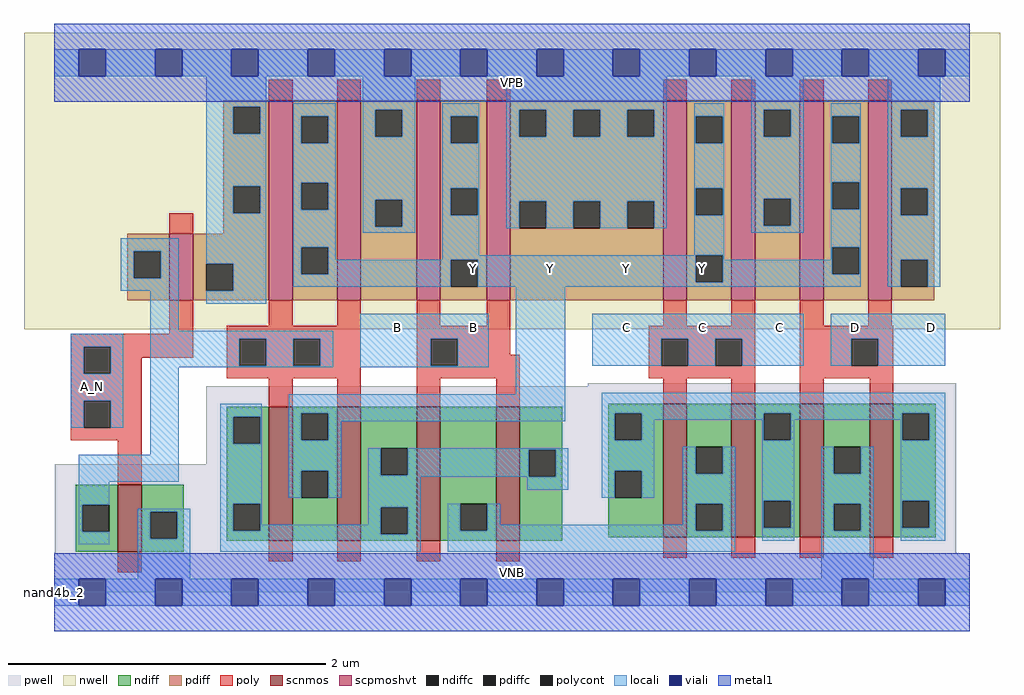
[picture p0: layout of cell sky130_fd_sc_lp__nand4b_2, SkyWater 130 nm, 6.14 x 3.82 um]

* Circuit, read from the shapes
.subckt sky130_fd_sc_lp__nand4b_2 A_N B C D VGND VNB VPB VPWR Y
XM1 VGND A_N n1 VNB sky130_fd_pr__nfet_01v8 w=0.42 l=0.15
XM2 Y n1 n2 VNB sky130_fd_pr__nfet_01v8 w=0.84 l=0.15 m=2
XM3 n3 B n2 VNB sky130_fd_pr__nfet_01v8 w=0.84 l=0.15 m=2
XM4 n3 C n4 VNB sky130_fd_pr__nfet_01v8 w=0.84 l=0.15 m=2
XM5 VGND D n4 VNB sky130_fd_pr__nfet_01v8 w=0.84 l=0.15 m=2
XM6 VPWR A_N n1 VPB sky130_fd_pr__pfet_01v8_hvt w=0.42 l=0.15
XM7 Y n1 VPWR VPB sky130_fd_pr__pfet_01v8_hvt w=1.26 l=0.15 m=2
XM8 Y B VPWR VPB sky130_fd_pr__pfet_01v8_hvt w=1.26 l=0.15 m=2
XM9 Y C VPWR VPB sky130_fd_pr__pfet_01v8_hvt w=1.26 l=0.15 m=2
XM10 Y D VPWR VPB sky130_fd_pr__pfet_01v8_hvt w=1.26 l=0.15 m=2
.ends

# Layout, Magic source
magic
tech sky130A
magscale 1 2
<< nwell >>
rect -38 331 1190 704
<< pwell >>
rect 671 259 1135 263
rect 191 161 1135 259
rect 1 49 1135 161
rect 0 0 1152 49
<< scnmos >>
rect 80 51 110 135
rect 270 65 300 233
rect 356 65 386 233
rect 456 65 486 233
rect 556 65 586 233
rect 766 69 796 237
rect 852 69 882 237
rect 938 69 968 237
rect 1026 69 1056 237
<< scpmoshvt >>
rect 145 367 175 451
rect 270 367 300 619
rect 356 367 386 619
rect 456 367 486 619
rect 544 367 574 619
rect 766 367 796 619
rect 852 367 882 619
rect 938 367 968 619
rect 1024 367 1054 619
<< ndiff >>
rect 217 221 270 233
rect 217 187 225 221
rect 259 187 270 221
rect 27 110 80 135
rect 27 76 35 110
rect 69 76 80 110
rect 27 51 80 76
rect 110 101 163 135
rect 110 67 121 101
rect 155 67 163 101
rect 110 51 163 67
rect 217 111 270 187
rect 217 77 225 111
rect 259 77 270 111
rect 217 65 270 77
rect 300 225 356 233
rect 300 191 311 225
rect 345 191 356 225
rect 300 153 356 191
rect 300 119 311 153
rect 345 119 356 153
rect 300 65 356 119
rect 386 181 456 233
rect 386 147 411 181
rect 445 147 456 181
rect 386 107 456 147
rect 386 73 411 107
rect 445 73 456 107
rect 386 65 456 73
rect 486 111 556 233
rect 486 77 511 111
rect 545 77 556 111
rect 486 65 556 77
rect 586 179 639 233
rect 586 145 597 179
rect 631 145 639 179
rect 586 65 639 145
rect 697 225 766 237
rect 697 191 705 225
rect 739 191 766 225
rect 697 153 766 191
rect 697 119 705 153
rect 739 119 766 153
rect 697 69 766 119
rect 796 183 852 237
rect 796 149 807 183
rect 841 149 852 183
rect 796 111 852 149
rect 796 77 807 111
rect 841 77 852 111
rect 796 69 852 77
rect 882 225 938 237
rect 882 191 893 225
rect 927 191 938 225
rect 882 115 938 191
rect 882 81 893 115
rect 927 81 938 115
rect 882 69 938 81
rect 968 183 1026 237
rect 968 149 981 183
rect 1015 149 1026 183
rect 968 111 1026 149
rect 968 77 981 111
rect 1015 77 1026 111
rect 968 69 1026 77
rect 1056 225 1109 237
rect 1056 191 1067 225
rect 1101 191 1109 225
rect 1056 115 1109 191
rect 1056 81 1067 115
rect 1101 81 1109 115
rect 1056 69 1109 81
<< pdiff >>
rect 213 611 270 619
rect 213 577 225 611
rect 259 577 270 611
rect 213 511 270 577
rect 213 477 225 511
rect 259 477 270 511
rect 213 451 270 477
rect 92 429 145 451
rect 92 395 100 429
rect 134 395 145 429
rect 92 367 145 395
rect 175 413 270 451
rect 175 379 191 413
rect 225 379 270 413
rect 175 367 270 379
rect 300 599 356 619
rect 300 565 311 599
rect 345 565 356 599
rect 300 515 356 565
rect 300 481 311 515
rect 345 481 356 515
rect 300 434 356 481
rect 300 400 311 434
rect 345 400 356 434
rect 300 367 356 400
rect 386 607 456 619
rect 386 573 404 607
rect 438 573 456 607
rect 386 494 456 573
rect 386 460 404 494
rect 438 460 456 494
rect 386 367 456 460
rect 486 599 544 619
rect 486 565 499 599
rect 533 565 544 599
rect 486 508 544 565
rect 486 474 499 508
rect 533 474 544 508
rect 486 418 544 474
rect 486 384 499 418
rect 533 384 544 418
rect 486 367 544 384
rect 574 607 766 619
rect 574 573 585 607
rect 619 573 653 607
rect 687 573 721 607
rect 755 573 766 607
rect 574 492 766 573
rect 574 458 585 492
rect 619 458 653 492
rect 687 458 721 492
rect 755 458 766 492
rect 574 367 766 458
rect 796 599 852 619
rect 796 565 807 599
rect 841 565 852 599
rect 796 508 852 565
rect 796 474 807 508
rect 841 474 852 508
rect 796 424 852 474
rect 796 390 807 424
rect 841 390 852 424
rect 796 367 852 390
rect 882 607 938 619
rect 882 573 893 607
rect 927 573 938 607
rect 882 495 938 573
rect 882 461 893 495
rect 927 461 938 495
rect 882 367 938 461
rect 968 599 1024 619
rect 968 565 979 599
rect 1013 565 1024 599
rect 968 516 1024 565
rect 968 482 979 516
rect 1013 482 1024 516
rect 968 434 1024 482
rect 968 400 979 434
rect 1013 400 1024 434
rect 968 367 1024 400
rect 1054 607 1107 619
rect 1054 573 1065 607
rect 1099 573 1107 607
rect 1054 508 1107 573
rect 1054 474 1065 508
rect 1099 474 1107 508
rect 1054 418 1107 474
rect 1054 384 1065 418
rect 1099 384 1107 418
rect 1054 367 1107 384
<< ndiffc >>
rect 225 187 259 221
rect 35 76 69 110
rect 121 67 155 101
rect 225 77 259 111
rect 311 191 345 225
rect 311 119 345 153
rect 411 147 445 181
rect 411 73 445 107
rect 511 77 545 111
rect 597 145 631 179
rect 705 191 739 225
rect 705 119 739 153
rect 807 149 841 183
rect 807 77 841 111
rect 893 191 927 225
rect 893 81 927 115
rect 981 149 1015 183
rect 981 77 1015 111
rect 1067 191 1101 225
rect 1067 81 1101 115
<< pdiffc >>
rect 225 577 259 611
rect 225 477 259 511
rect 100 395 134 429
rect 191 379 225 413
rect 311 565 345 599
rect 311 481 345 515
rect 311 400 345 434
rect 404 573 438 607
rect 404 460 438 494
rect 499 565 533 599
rect 499 474 533 508
rect 499 384 533 418
rect 585 573 619 607
rect 653 573 687 607
rect 721 573 755 607
rect 585 458 619 492
rect 653 458 687 492
rect 721 458 755 492
rect 807 565 841 599
rect 807 474 841 508
rect 807 390 841 424
rect 893 573 927 607
rect 893 461 927 495
rect 979 565 1013 599
rect 979 482 1013 516
rect 979 400 1013 434
rect 1065 573 1099 607
rect 1065 474 1099 508
rect 1065 384 1099 418
<< poly >>
rect 270 619 300 645
rect 356 619 386 645
rect 456 619 486 645
rect 544 619 574 645
rect 766 619 796 645
rect 852 619 882 645
rect 938 619 968 645
rect 1024 619 1054 645
rect 145 451 175 477
rect 145 325 175 367
rect 270 335 300 367
rect 356 335 386 367
rect 21 309 175 325
rect 21 275 37 309
rect 71 295 175 309
rect 217 319 386 335
rect 71 275 110 295
rect 21 241 110 275
rect 217 285 233 319
rect 267 285 301 319
rect 335 285 386 319
rect 217 269 386 285
rect 21 207 37 241
rect 71 207 110 241
rect 270 233 300 269
rect 356 233 386 269
rect 456 335 486 367
rect 544 335 574 367
rect 766 335 796 367
rect 852 335 882 367
rect 456 319 574 335
rect 456 285 474 319
rect 508 299 574 319
rect 748 319 882 335
rect 508 285 586 299
rect 456 269 586 285
rect 748 285 764 319
rect 798 285 832 319
rect 866 285 882 319
rect 748 269 882 285
rect 456 233 486 269
rect 556 233 586 269
rect 766 237 796 269
rect 852 237 882 269
rect 938 335 968 367
rect 1024 335 1054 367
rect 938 319 1056 335
rect 938 285 1003 319
rect 1037 285 1056 319
rect 938 269 1056 285
rect 938 237 968 269
rect 1026 237 1056 269
rect 21 191 110 207
rect 80 135 110 191
rect 80 25 110 51
rect 270 39 300 65
rect 356 39 386 65
rect 456 39 486 65
rect 556 39 586 65
rect 766 43 796 69
rect 852 43 882 69
rect 938 43 968 69
rect 1026 43 1056 69
<< polycont >>
rect 37 275 71 309
rect 233 285 267 319
rect 301 285 335 319
rect 37 207 71 241
rect 474 285 508 319
rect 764 285 798 319
rect 832 285 866 319
rect 1003 285 1037 319
<< locali >>
rect 0 649 31 683
rect 65 649 127 683
rect 161 649 223 683
rect 257 649 319 683
rect 353 649 415 683
rect 449 649 511 683
rect 545 649 607 683
rect 641 649 703 683
rect 737 649 799 683
rect 833 649 895 683
rect 929 649 991 683
rect 1025 649 1087 683
rect 1121 649 1152 683
rect 191 611 267 649
rect 191 577 225 611
rect 259 577 267 611
rect 191 511 267 577
rect 191 477 225 511
rect 259 477 267 511
rect 84 429 157 445
rect 84 395 100 429
rect 134 395 157 429
rect 84 379 157 395
rect 121 329 157 379
rect 191 413 267 477
rect 225 379 267 413
rect 301 599 354 615
rect 301 565 311 599
rect 345 565 354 599
rect 301 515 354 565
rect 301 481 311 515
rect 345 481 354 515
rect 301 434 354 481
rect 388 607 454 649
rect 388 573 404 607
rect 438 573 454 607
rect 388 494 454 573
rect 388 460 404 494
rect 438 460 454 494
rect 388 452 454 460
rect 488 599 535 615
rect 488 565 499 599
rect 533 565 535 599
rect 488 508 535 565
rect 488 474 499 508
rect 533 474 535 508
rect 301 400 311 434
rect 345 418 354 434
rect 488 424 535 474
rect 569 607 771 649
rect 569 573 585 607
rect 619 573 653 607
rect 687 573 721 607
rect 755 573 771 607
rect 569 492 771 573
rect 569 458 585 492
rect 619 458 653 492
rect 687 458 721 492
rect 755 458 771 492
rect 805 599 843 615
rect 805 565 807 599
rect 841 565 843 599
rect 805 508 843 565
rect 805 474 807 508
rect 841 474 843 508
rect 805 424 843 474
rect 877 607 943 649
rect 877 573 893 607
rect 927 573 943 607
rect 877 495 943 573
rect 877 461 893 495
rect 927 461 943 495
rect 877 452 943 461
rect 977 599 1015 615
rect 977 565 979 599
rect 1013 565 1015 599
rect 977 516 1015 565
rect 977 482 979 516
rect 1013 482 1015 516
rect 488 418 807 424
rect 345 400 499 418
rect 301 384 499 400
rect 533 390 807 418
rect 841 418 843 424
rect 977 434 1015 482
rect 977 418 979 434
rect 841 400 979 418
rect 1013 400 1015 434
rect 841 390 1015 400
rect 533 384 1015 390
rect 1049 607 1115 649
rect 1049 573 1065 607
rect 1099 573 1115 607
rect 1049 508 1115 573
rect 1049 474 1065 508
rect 1099 474 1115 508
rect 1049 418 1115 474
rect 1049 384 1065 418
rect 1099 384 1115 418
rect 191 363 267 379
rect 21 309 87 325
rect 21 275 37 309
rect 71 275 87 309
rect 21 241 87 275
rect 21 207 37 241
rect 71 207 87 241
rect 121 319 351 329
rect 121 285 233 319
rect 267 285 301 319
rect 335 285 351 319
rect 121 283 351 285
rect 385 319 547 350
rect 385 285 474 319
rect 508 285 547 319
rect 385 283 547 285
rect 121 173 157 283
rect 581 249 643 384
rect 677 319 943 350
rect 677 285 764 319
rect 798 285 832 319
rect 866 285 943 319
rect 977 319 1121 350
rect 977 285 1003 319
rect 1037 285 1121 319
rect 31 139 157 173
rect 209 221 261 237
rect 209 187 225 221
rect 259 187 261 221
rect 31 110 69 139
rect 31 76 35 110
rect 209 111 261 187
rect 295 225 643 249
rect 295 191 311 225
rect 345 215 643 225
rect 689 225 1121 251
rect 345 191 361 215
rect 295 153 361 191
rect 689 191 705 225
rect 739 217 893 225
rect 739 191 755 217
rect 295 119 311 153
rect 345 119 361 153
rect 395 147 411 181
rect 445 179 647 181
rect 445 147 597 179
rect 395 145 597 147
rect 631 145 647 179
rect 31 60 69 76
rect 105 101 171 105
rect 105 67 121 101
rect 155 67 171 101
rect 105 17 171 67
rect 209 77 225 111
rect 259 85 261 111
rect 395 107 461 145
rect 595 129 647 145
rect 689 153 755 191
rect 891 191 893 217
rect 927 217 1067 225
rect 927 191 931 217
rect 689 119 705 153
rect 739 119 755 153
rect 791 149 807 183
rect 841 149 857 183
rect 791 111 857 149
rect 395 85 411 107
rect 259 77 411 85
rect 209 73 411 77
rect 445 73 461 107
rect 209 51 461 73
rect 495 77 511 111
rect 545 85 561 111
rect 791 85 807 111
rect 545 77 807 85
rect 841 77 857 111
rect 495 51 857 77
rect 891 115 931 191
rect 1065 191 1067 217
rect 1101 191 1121 225
rect 891 81 893 115
rect 927 81 931 115
rect 891 65 931 81
rect 965 149 981 183
rect 1015 149 1031 183
rect 965 111 1031 149
rect 965 77 981 111
rect 1015 77 1031 111
rect 965 17 1031 77
rect 1065 115 1121 191
rect 1065 81 1067 115
rect 1101 81 1121 115
rect 1065 65 1121 81
rect 0 -17 31 17
rect 65 -17 127 17
rect 161 -17 223 17
rect 257 -17 319 17
rect 353 -17 415 17
rect 449 -17 511 17
rect 545 -17 607 17
rect 641 -17 703 17
rect 737 -17 799 17
rect 833 -17 895 17
rect 929 -17 991 17
rect 1025 -17 1087 17
rect 1121 -17 1152 17
<< viali >>
rect 31 649 65 683
rect 127 649 161 683
rect 223 649 257 683
rect 319 649 353 683
rect 415 649 449 683
rect 511 649 545 683
rect 607 649 641 683
rect 703 649 737 683
rect 799 649 833 683
rect 895 649 929 683
rect 991 649 1025 683
rect 1087 649 1121 683
rect 31 -17 65 17
rect 127 -17 161 17
rect 223 -17 257 17
rect 319 -17 353 17
rect 415 -17 449 17
rect 511 -17 545 17
rect 607 -17 641 17
rect 703 -17 737 17
rect 799 -17 833 17
rect 895 -17 929 17
rect 991 -17 1025 17
rect 1087 -17 1121 17
<< metal1 >>
rect 0 683 1152 715
rect 0 649 31 683
rect 65 649 127 683
rect 161 649 223 683
rect 257 649 319 683
rect 353 649 415 683
rect 449 649 511 683
rect 545 649 607 683
rect 641 649 703 683
rect 737 649 799 683
rect 833 649 895 683
rect 929 649 991 683
rect 1025 649 1087 683
rect 1121 649 1152 683
rect 0 617 1152 649
rect 0 17 1152 49
rect 0 -17 31 17
rect 65 -17 127 17
rect 161 -17 223 17
rect 257 -17 319 17
rect 353 -17 415 17
rect 449 -17 511 17
rect 545 -17 607 17
rect 641 -17 703 17
rect 737 -17 799 17
rect 833 -17 895 17
rect 929 -17 991 17
rect 1025 -17 1087 17
rect 1121 -17 1152 17
rect 0 -49 1152 -17
<< labels >>
flabel pwell s 0 0 1152 49 0 FreeSans 200 0 0 0 VNB
port 6 nsew ground bidirectional
flabel nwell s 0 617 1152 666 0 FreeSans 200 0 0 0 VPB
port 7 nsew power bidirectional
rlabel comment s 0 0 0 0 4 nand4b_2
flabel metal1 s 0 617 1152 666 0 FreeSans 340 0 0 0 VPWR
port 8 nsew power bidirectional
flabel metal1 s 0 0 1152 49 0 FreeSans 340 0 0 0 VGND
port 5 nsew ground bidirectional
flabel locali s 511 390 545 424 0 FreeSans 340 0 0 0 Y
port 9 nsew signal output
flabel locali s 607 390 641 424 0 FreeSans 340 0 0 0 Y
port 9 nsew signal output
flabel locali s 703 390 737 424 0 FreeSans 340 0 0 0 Y
port 9 nsew signal output
flabel locali s 799 390 833 424 0 FreeSans 340 0 0 0 Y
port 9 nsew signal output
flabel locali s 415 316 449 350 0 FreeSans 340 0 0 0 B
port 2 nsew signal input
flabel locali s 511 316 545 350 0 FreeSans 340 0 0 0 B
port 2 nsew signal input
flabel locali s 703 316 737 350 0 FreeSans 340 0 0 0 C
port 3 nsew signal input
flabel locali s 799 316 833 350 0 FreeSans 340 0 0 0 C
port 3 nsew signal input
flabel locali s 895 316 929 350 0 FreeSans 340 0 0 0 C
port 3 nsew signal input
flabel locali s 991 316 1025 350 0 FreeSans 340 0 0 0 D
port 4 nsew signal input
flabel locali s 1087 316 1121 350 0 FreeSans 340 0 0 0 D
port 4 nsew signal input
flabel locali s 31 242 65 276 0 FreeSans 340 0 0 0 A_N
port 1 nsew signal input
<< properties >>
string LEFsite unit
string LEFclass CORE
string FIXED_BBOX 0 0 1152 666
string GDS_FILE $PDKPATH/libs.ref/sky130_fd_sc_lp/gds/sky130_fd_sc_lp.gds
string LEFsymmetry X Y R90
string GDS_END 648716
string GDS_START 638372
<< end >>
